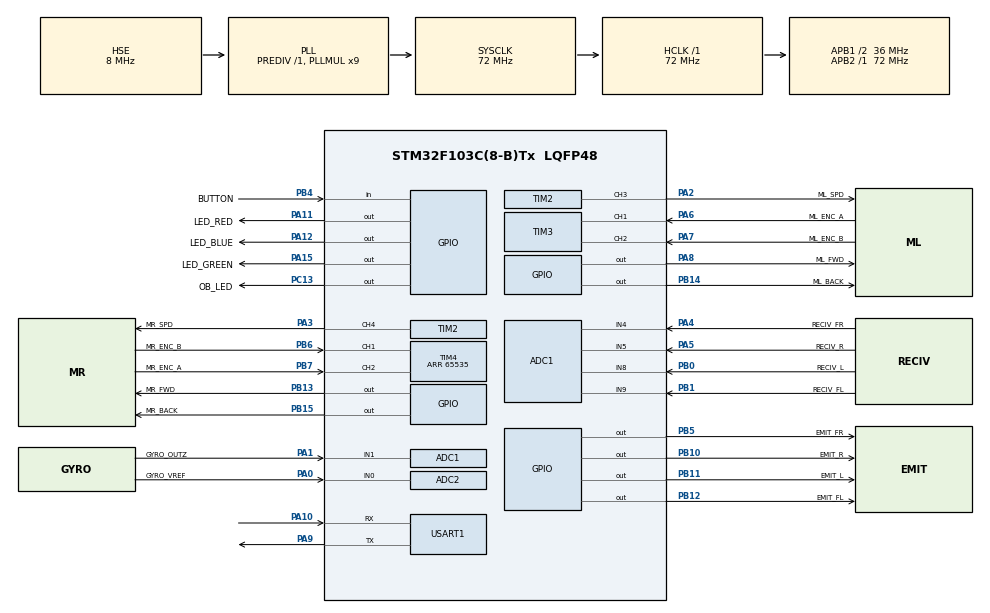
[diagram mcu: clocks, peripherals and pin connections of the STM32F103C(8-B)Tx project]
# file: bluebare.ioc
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ADC1.Channel-2\#ChannelRegularConversion=ADC_CHANNEL_9
ADC1.NbrOfConversionFlag=1
ADC1.Rank-2\#ChannelRegularConversion=1
ADC1.SamplingTime-2\#ChannelRegularConversion=ADC_SAMPLETIME_1CYCLE_5
ADC1.master=1
ADC2.Channel-0\#ChannelRegularConversion=ADC_CHANNEL_0
ADC2.NbrOfConversionFlag=1
ADC2.Rank-0\#ChannelRegularConversion=1
ADC2.SamplingTime-0\#ChannelRegularConversion=ADC_SAMPLETIME_1CYCLE_5
FREERTOS.Tasks01=defaultTask,24,128,StartDefaultTask,Default,NULL,Dynamic,NULL,NULL;taskBlink,8,128,taskBlinkFunc,Default,NULL,Dynamic,NULL,NULL
FREERTOS.configUSE_NEWLIB_REENTRANT=1
Mcu.Family=STM32F1
Mcu.Name=STM32F103C(8-B)Tx
Mcu.Package=LQFP48
NVIC.PriorityGroup=NVIC_PRIORITYGROUP_4
NVIC.TIM1_UP_IRQn=true\:15\:0\:false\:false\:true\:false\:false\:true\:true
NVIC.TimeBase=TIM1_UP_IRQn
NVIC.TimeBaseIP=TIM1
NVIC.USART1_IRQn=true\:5\:0\:false\:false\:true\:true\:true\:true\:true
PA0-WKUP.GPIO_Label=GYRO_VREF
PA0-WKUP.Signal=ADCx_IN0
PA1.GPIO_Label=GYRO_OUTZ
PA1.Signal=ADCx_IN1
PA10.Mode=Asynchronous
PA10.Signal=USART1_RX
PA11.GPIO_Label=LED_RED
PA11.Signal=GPIO_Output
PA12.GPIO_Label=LED_BLUE
PA12.Signal=GPIO_Output
PA13.Mode=Trace_Asynchronous_SW
PA13.Signal=SYS_JTMS-SWDIO
PA14.Mode=Trace_Asynchronous_SW
PA14.Signal=SYS_JTCK-SWCLK
PA15.GPIO_Label=LED_GREEN
PA15.Signal=GPIO_Output
PA2.GPIO_Label=ML_SPD
PA2.Signal=S_TIM2_CH3
PA3.GPIO_Label=MR_SPD
PA3.Signal=S_TIM2_CH4
PA4.GPIO_Label=RECIV_FR
PA4.Signal=ADCx_IN4
PA5.GPIO_Label=RECIV_R
PA5.Signal=ADCx_IN5
PA6.GPIO_Label=ML_ENC_A
PA6.Signal=S_TIM3_CH1
PA7.GPIO_Label=ML_ENC_B
PA7.Signal=S_TIM3_CH2
PA8.GPIO_Label=ML_FWD
PA8.Signal=GPIO_Output
PA9.Mode=Asynchronous
PA9.Signal=USART1_TX
PB0.GPIO_Label=RECIV_L
PB0.Signal=ADCx_IN8
PB1.GPIO_Label=RECIV_FL
PB1.Signal=ADCx_IN9
PB10.GPIO_Label=EMIT_R
PB10.Signal=GPIO_Output
PB11.GPIO_Label=EMIT_L
PB11.Signal=GPIO_Output
PB12.GPIO_Label=EMIT_FL
PB12.Signal=GPIO_Output
PB13.GPIO_Label=MR_FWD
PB13.Signal=GPIO_Output
PB14.GPIO_Label=ML_BACK
PB14.Signal=GPIO_Output
PB15.GPIO_Label=MR_BACK
PB15.Signal=GPIO_Output
PB3.Mode=Trace_Asynchronous_SW
PB3.Signal=SYS_JTDO-TRACESWO
PB4.GPIO_Label=BUTTON
PB4.Signal=GPIO_Input
PB5.GPIO_Label=EMIT_FR
PB5.Signal=GPIO_Output
PB6.GPIO_Label=MR_ENC_B
PB6.Signal=S_TIM4_CH1
PB7.GPIO_Label=MR_ENC_A
PB7.Signal=S_TIM4_CH2
PC13-TAMPER-RTC.GPIO_Label=OB_LED
PC13-TAMPER-RTC.Signal=GPIO_Output
PD0-OSC_IN.Mode=HSE-External-Oscillator
PD0-OSC_IN.Signal=RCC_OSC_IN
PD1-OSC_OUT.Mode=HSE-External-Oscillator
PD1-OSC_OUT.Signal=RCC_OSC_OUT
ProjectManager.HeapSize=0x200
ProjectManager.StackSize=0x400
ProjectManager.TargetToolchain=STM32CubeIDE
RCC.ADCPresc=RCC_ADCPCLK2_DIV6
RCC.AHBFreq_Value=72000000
RCC.APB1CLKDivider=RCC_HCLK_DIV2
RCC.APB1Freq_Value=36000000
RCC.APB1TimFreq_Value=72000000
RCC.APB2Freq_Value=72000000
RCC.APB2TimFreq_Value=72000000
RCC.HCLKFreq_Value=72000000
RCC.PLLMUL=RCC_PLL_MUL9
RCC.PLLSourceVirtual=RCC_PLLSOURCE_HSE
RCC.SYSCLKFreq_VALUE=72000000
RCC.SYSCLKSource=RCC_SYSCLKSOURCE_PLLCLK
RCC.USBFreq_Value=72000000
SH.ADCx_IN0.0=ADC2_IN0,IN0
SH.ADCx_IN1.0=ADC1_IN1,IN1
SH.ADCx_IN1.1=ADC2_IN1,IN1
SH.ADCx_IN4.0=ADC1_IN4,IN4
SH.ADCx_IN5.0=ADC1_IN5,IN5
SH.ADCx_IN8.0=ADC1_IN8,IN8
SH.ADCx_IN9.0=ADC1_IN9,IN9
SH.S_TIM2_CH3.0=TIM2_CH3,PWM Generation3 CH3
SH.S_TIM2_CH4.0=TIM2_CH4,PWM Generation4 CH4
SH.S_TIM3_CH1.0=TIM3_CH1,Encoder_Interface
SH.S_TIM3_CH2.0=TIM3_CH2,Encoder_Interface
SH.S_TIM4_CH1.0=TIM4_CH1,Encoder_Interface
SH.S_TIM4_CH2.0=TIM4_CH2,Encoder_Interface
TIM2.AutoReloadPreload=TIM_AUTORELOAD_PRELOAD_ENABLE
TIM2.Channel-PWM\ Generation1\ CH1=TIM_CHANNEL_1
TIM2.Channel-PWM\ Generation3\ CH3=TIM_CHANNEL_3
TIM2.Channel-PWM\ Generation4\ CH4=TIM_CHANNEL_4
TIM2.Period=1800
TIM3.CounterMode=TIM_COUNTERMODE_UP
TIM3.EncoderMode=TIM_ENCODERMODE_TI12
TIM4.AutoReloadPreload=TIM_AUTORELOAD_PRELOAD_DISABLE
TIM4.CounterMode=TIM_COUNTERMODE_UP
TIM4.EncoderMode=TIM_ENCODERMODE_TI12
TIM4.Period=65535
USART1.VirtualMode=VM_ASYNC
VP_FREERTOS_VS_CMSIS_V2.Mode=CMSIS_V2
VP_SYS_VS_tim1.Mode=TIM1
VP_TIM2_VS_ClockSourceINT.Mode=Internal
board=custom

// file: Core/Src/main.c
/* USER CODE BEGIN Header */
/**
  ******************************************************************************
  * @file           : main.c
  * @brief          : Main program body
  ******************************************************************************
  * @attention
  *
  * Copyright (c) 2022 STMicroelectronics.
  * All rights reserved.
  *
  * This software is licensed under terms that can be found in the LICENSE file
  * in the root directory of this software component.
  * If no LICENSE file comes with this software, it is provided AS-IS.
  *
  ******************************************************************************
  */
/* USER CODE END Header */
#include "main.h"
#include "cmsis_os.h"

/* USER CODE BEGIN Includes */
#include <string.h>
#include "cli.h"
#include "blue_hal.h"
#include "nav.h"
/* USER CODE END Includes */

/* USER CODE BEGIN PD */
#define START_SIGNAL_DIST_FR 3000 /* TODO: Find value*/
#define START_SIGNAL_DIST_R 1500/* TODO: Find value*/
#define START_SIGNAL_DIST_RANGE 500 /* TODO: Find value*/
#define DC_FOR_100_DC 1800
/* USER CODE END PD */

ADC_HandleTypeDef hadc1;
ADC_HandleTypeDef hadc2;

TIM_HandleTypeDef htim2;
TIM_HandleTypeDef htim3;
TIM_HandleTypeDef htim4;

UART_HandleTypeDef huart1;

/* Definitions for defaultTask */
osThreadId_t defaultTaskHandle;
const osThreadAttr_t defaultTask_attributes = {
  .name = "defaultTask",
  .stack_size = 128 * 4,
  .priority = (osPriority_t) osPriorityNormal,
};
/* Definitions for taskBlink */
osThreadId_t taskBlinkHandle;
const osThreadAttr_t taskBlink_attributes = {
  .name = "taskBlink",
  .stack_size = 128 * 4,
  .priority = (osPriority_t) osPriorityLow,
};

void SystemClock_Config(void);
static void MX_GPIO_Init(void);
static void MX_ADC1_Init(void);
static void MX_TIM3_Init(void);
static void MX_TIM4_Init(void);
static void MX_TIM2_Init(void);
static void MX_USART1_UART_Init(void);
static void MX_ADC2_Init(void);
void StartDefaultTask(void *argument);
void taskBlinkFunc(void *argument);

/* USER CODE BEGIN PFP */
static void wait_for_start_signal();
/* USER CODE END PFP */

/* USER CODE BEGIN 0 */
static void wait_for_start_signal(){
  while(1){
    uint16_t fr = bh_measure_dist_avg(DIST_FR);
    uint16_t r = bh_measure_dist_avg(DIST_R);
    if(fr < START_SIGNAL_DIST_FR + START_SIGNAL_DIST_RANGE && fr > START_SIGNAL_DIST_FR - START_SIGNAL_DIST_RANGE
      && r < START_SIGNAL_DIST_R + START_SIGNAL_DIST_RANGE && r > START_SIGNAL_DIST_R - START_SIGNAL_DIST_RANGE) {
      break;
    }
    osDelay(100);
  }

}
/* USER CODE END 0 */

int main(void)
{

  /* MCU Configuration--------------------------------------------------------*/

  /* Reset of all peripherals, Initializes the Flash interface and the Systick. */
  HAL_Init();

  /* Configure the system clock */
  SystemClock_Config();

  /* Initialize all configured peripherals */
  MX_GPIO_Init();
  MX_ADC1_Init();
  MX_TIM3_Init();
  MX_TIM4_Init();
  MX_TIM2_Init();
  MX_USART1_UART_Init();
  MX_ADC2_Init();

  /* Init scheduler */
  osKernelInitialize();

  /* Create the thread(s) */
  /* creation of defaultTask */
  defaultTaskHandle = osThreadNew(StartDefaultTask, NULL, &defaultTask_attributes);

  /* creation of taskBlink */
  taskBlinkHandle = osThreadNew(taskBlinkFunc, NULL, &taskBlink_attributes);

  /* Start scheduler */
  osKernelStart();

  /* We should never get here as control is now taken by the scheduler */
  /* Infinite loop */
  while (1)
  {

  }
}

void SystemClock_Config(void)
{
  RCC_OscInitTypeDef RCC_OscInitStruct = {0};
  RCC_ClkInitTypeDef RCC_ClkInitStruct = {0};
  RCC_PeriphCLKInitTypeDef PeriphClkInit = {0};

  /** Initializes the RCC Oscillators according to the specified parameters
  * in the RCC_OscInitTypeDef structure.
  */
  RCC_OscInitStruct.OscillatorType = RCC_OSCILLATORTYPE_HSE;
  RCC_OscInitStruct.HSEState = RCC_HSE_ON;
  RCC_OscInitStruct.HSEPredivValue = RCC_HSE_PREDIV_DIV1;
  RCC_OscInitStruct.HSIState = RCC_HSI_ON;
  RCC_OscInitStruct.PLL.PLLState = RCC_PLL_ON;
  RCC_OscInitStruct.PLL.PLLSource = RCC_PLLSOURCE_HSE;
  RCC_OscInitStruct.PLL.PLLMUL = RCC_PLL_MUL9;
  if (HAL_RCC_OscConfig(&RCC_OscInitStruct) != HAL_OK)
  {
    Error_Handler();
  }

  /** Initializes the CPU, AHB and APB buses clocks
  */
  RCC_ClkInitStruct.ClockType = RCC_CLOCKTYPE_HCLK|RCC_CLOCKTYPE_SYSCLK
                              |RCC_CLOCKTYPE_PCLK1|RCC_CLOCKTYPE_PCLK2;
  RCC_ClkInitStruct.SYSCLKSource = RCC_SYSCLKSOURCE_PLLCLK;
  RCC_ClkInitStruct.AHBCLKDivider = RCC_SYSCLK_DIV1;
  RCC_ClkInitStruct.APB1CLKDivider = RCC_HCLK_DIV2;
  RCC_ClkInitStruct.APB2CLKDivider = RCC_HCLK_DIV1;

  if (HAL_RCC_ClockConfig(&RCC_ClkInitStruct, FLASH_LATENCY_2) != HAL_OK)
  {
    Error_Handler();
  }
  PeriphClkInit.PeriphClockSelection = RCC_PERIPHCLK_ADC;
  PeriphClkInit.AdcClockSelection = RCC_ADCPCLK2_DIV6;
  if (HAL_RCCEx_PeriphCLKConfig(&PeriphClkInit) != HAL_OK)
  {
    Error_Handler();
  }
}

static void MX_ADC1_Init(void)
{

  ADC_ChannelConfTypeDef sConfig = {0};

  /** Common config
  */
  hadc1.Instance = ADC1;
  hadc1.Init.ScanConvMode = ADC_SCAN_DISABLE;
  hadc1.Init.ContinuousConvMode = DISABLE;
  hadc1.Init.DiscontinuousConvMode = DISABLE;
  hadc1.Init.ExternalTrigConv = ADC_SOFTWARE_START;
  hadc1.Init.DataAlign = ADC_DATAALIGN_RIGHT;
  hadc1.Init.NbrOfConversion = 1;
  if (HAL_ADC_Init(&hadc1) != HAL_OK)
  {
    Error_Handler();
  }

  /** Configure Regular Channel
  */
  sConfig.Channel = ADC_CHANNEL_9;
  sConfig.Rank = ADC_REGULAR_RANK_1;
  sConfig.SamplingTime = ADC_SAMPLETIME_1CYCLE_5;
  if (HAL_ADC_ConfigChannel(&hadc1, &sConfig) != HAL_OK)
  {
    Error_Handler();
  }

}

static void MX_ADC2_Init(void)
{

  ADC_ChannelConfTypeDef sConfig = {0};

  /** Common config
  */
  hadc2.Instance = ADC2;
  hadc2.Init.ScanConvMode = ADC_SCAN_DISABLE;
  hadc2.Init.ContinuousConvMode = DISABLE;
  hadc2.Init.DiscontinuousConvMode = DISABLE;
  hadc2.Init.ExternalTrigConv = ADC_SOFTWARE_START;
  hadc2.Init.DataAlign = ADC_DATAALIGN_RIGHT;
  hadc2.Init.NbrOfConversion = 1;
  if (HAL_ADC_Init(&hadc2) != HAL_OK)
  {
    Error_Handler();
  }

  /** Configure Regular Channel
  */
  sConfig.Channel = ADC_CHANNEL_0;
  sConfig.Rank = ADC_REGULAR_RANK_1;
  sConfig.SamplingTime = ADC_SAMPLETIME_1CYCLE_5;
  if (HAL_ADC_ConfigChannel(&hadc2, &sConfig) != HAL_OK)
  {
    Error_Handler();
  }

}

static void MX_TIM2_Init(void)
{

  TIM_ClockConfigTypeDef sClockSourceConfig = {0};
  TIM_MasterConfigTypeDef sMasterConfig = {0};
  TIM_OC_InitTypeDef sConfigOC = {0};

  htim2.Instance = TIM2;
  htim2.Init.Prescaler = 0;
  htim2.Init.CounterMode = TIM_COUNTERMODE_UP;
  htim2.Init.Period = 1800;
  htim2.Init.ClockDivision = TIM_CLOCKDIVISION_DIV1;
  htim2.Init.AutoReloadPreload = TIM_AUTORELOAD_PRELOAD_ENABLE;
  if (HAL_TIM_Base_Init(&htim2) != HAL_OK)
  {
    Error_Handler();
  }
  sClockSourceConfig.ClockSource = TIM_CLOCKSOURCE_INTERNAL;
  if (HAL_TIM_ConfigClockSource(&htim2, &sClockSourceConfig) != HAL_OK)
  {
    Error_Handler();
  }
  if (HAL_TIM_PWM_Init(&htim2) != HAL_OK)
  {
    Error_Handler();
  }
  sMasterConfig.MasterOutputTrigger = TIM_TRGO_RESET;
  sMasterConfig.MasterSlaveMode = TIM_MASTERSLAVEMODE_DISABLE;
  if (HAL_TIMEx_MasterConfigSynchronization(&htim2, &sMasterConfig) != HAL_OK)
  {
    Error_Handler();
  }
  sConfigOC.OCMode = TIM_OCMODE_PWM1;
  sConfigOC.Pulse = 0;
  sConfigOC.OCPolarity = TIM_OCPOLARITY_HIGH;
  sConfigOC.OCFastMode = TIM_OCFAST_DISABLE;
  if (HAL_TIM_PWM_ConfigChannel(&htim2, &sConfigOC, TIM_CHANNEL_3) != HAL_OK)
  {
    Error_Handler();
  }
  if (HAL_TIM_PWM_ConfigChannel(&htim2, &sConfigOC, TIM_CHANNEL_4) != HAL_OK)
  {
    Error_Handler();
  }
  HAL_TIM_MspPostInit(&htim2);

}

static void MX_TIM3_Init(void)
{

  TIM_Encoder_InitTypeDef sConfig = {0};
  TIM_MasterConfigTypeDef sMasterConfig = {0};

  htim3.Instance = TIM3;
  htim3.Init.Prescaler = 0;
  htim3.Init.CounterMode = TIM_COUNTERMODE_UP;
  htim3.Init.Period = 65535;
  htim3.Init.ClockDivision = TIM_CLOCKDIVISION_DIV1;
  htim3.Init.AutoReloadPreload = TIM_AUTORELOAD_PRELOAD_DISABLE;
  sConfig.EncoderMode = TIM_ENCODERMODE_TI12;
  sConfig.IC1Polarity = TIM_ICPOLARITY_RISING;
  sConfig.IC1Selection = TIM_ICSELECTION_DIRECTTI;
  sConfig.IC1Prescaler = TIM_ICPSC_DIV1;
  sConfig.IC1Filter = 0;
  sConfig.IC2Polarity = TIM_ICPOLARITY_RISING;
  sConfig.IC2Selection = TIM_ICSELECTION_DIRECTTI;
  sConfig.IC2Prescaler = TIM_ICPSC_DIV1;
  sConfig.IC2Filter = 0;
  if (HAL_TIM_Encoder_Init(&htim3, &sConfig) != HAL_OK)
  {
    Error_Handler();
  }
  sMasterConfig.MasterOutputTrigger = TIM_TRGO_RESET;
  sMasterConfig.MasterSlaveMode = TIM_MASTERSLAVEMODE_DISABLE;
  if (HAL_TIMEx_MasterConfigSynchronization(&htim3, &sMasterConfig) != HAL_OK)
  {
    Error_Handler();
  }

}

static void MX_TIM4_Init(void)
{

  TIM_Encoder_InitTypeDef sConfig = {0};
  TIM_MasterConfigTypeDef sMasterConfig = {0};

  htim4.Instance = TIM4;
  htim4.Init.Prescaler = 0;
  htim4.Init.CounterMode = TIM_COUNTERMODE_UP;
  htim4.Init.Period = 65535;
  htim4.Init.ClockDivision = TIM_CLOCKDIVISION_DIV1;
  htim4.Init.AutoReloadPreload = TIM_AUTORELOAD_PRELOAD_DISABLE;
  sConfig.EncoderMode = TIM_ENCODERMODE_TI12;
  sConfig.IC1Polarity = TIM_ICPOLARITY_RISING;
  sConfig.IC1Selection = TIM_ICSELECTION_DIRECTTI;
  sConfig.IC1Prescaler = TIM_ICPSC_DIV1;
  sConfig.IC1Filter = 0;
  sConfig.IC2Polarity = TIM_ICPOLARITY_RISING;
  sConfig.IC2Selection = TIM_ICSELECTION_DIRECTTI;
  sConfig.IC2Prescaler = TIM_ICPSC_DIV1;
  sConfig.IC2Filter = 0;
  if (HAL_TIM_Encoder_Init(&htim4, &sConfig) != HAL_OK)
  {
    Error_Handler();
  }
  sMasterConfig.MasterOutputTrigger = TIM_TRGO_RESET;
  sMasterConfig.MasterSlaveMode = TIM_MASTERSLAVEMODE_DISABLE;
  if (HAL_TIMEx_MasterConfigSynchronization(&htim4, &sMasterConfig) != HAL_OK)
  {
    Error_Handler();
  }

}

static void MX_USART1_UART_Init(void)
{

  huart1.Instance = USART1;
  huart1.Init.BaudRate = 115200;
  huart1.Init.WordLength = UART_WORDLENGTH_8B;
  huart1.Init.StopBits = UART_STOPBITS_1;
  huart1.Init.Parity = UART_PARITY_NONE;
  huart1.Init.Mode = UART_MODE_TX_RX;
  huart1.Init.HwFlowCtl = UART_HWCONTROL_NONE;
  huart1.Init.OverSampling = UART_OVERSAMPLING_16;
  if (HAL_UART_Init(&huart1) != HAL_OK)
  {
    Error_Handler();
  }

}

static void MX_GPIO_Init(void)
{
  GPIO_InitTypeDef GPIO_InitStruct = {0};

  /* GPIO Ports Clock Enable */
  __HAL_RCC_GPIOC_CLK_ENABLE();
  __HAL_RCC_GPIOD_CLK_ENABLE();
  __HAL_RCC_GPIOA_CLK_ENABLE();
  __HAL_RCC_GPIOB_CLK_ENABLE();

  /*Configure GPIO pin Output Level */
  HAL_GPIO_WritePin(OB_LED_GPIO_Port, OB_LED_Pin, GPIO_PIN_RESET);

  /*Configure GPIO pin Output Level */
  HAL_GPIO_WritePin(GPIOB, EMIT_R_Pin|EMIT_L_Pin|EMIT_FL_Pin|MR_FWD_Pin
                          |ML_BACK_Pin|MR_BACK_Pin|EMIT_FR_Pin, GPIO_PIN_RESET);

  /*Configure GPIO pin Output Level */
  HAL_GPIO_WritePin(GPIOA, ML_FWD_Pin|LED_RED_Pin|LED_BLUE_Pin|LED_GREEN_Pin, GPIO_PIN_RESET);

  /*Configure GPIO pin : OB_LED_Pin */
  GPIO_InitStruct.Pin = OB_LED_Pin;
  GPIO_InitStruct.Mode = GPIO_MODE_OUTPUT_PP;
  GPIO_InitStruct.Pull = GPIO_NOPULL;
  GPIO_InitStruct.Speed = GPIO_SPEED_FREQ_LOW;
  HAL_GPIO_Init(OB_LED_GPIO_Port, &GPIO_InitStruct);

  /*Configure GPIO pins : EMIT_R_Pin EMIT_L_Pin EMIT_FL_Pin MR_FWD_Pin
                           ML_BACK_Pin MR_BACK_Pin EMIT_FR_Pin */
  GPIO_InitStruct.Pin = EMIT_R_Pin|EMIT_L_Pin|EMIT_FL_Pin|MR_FWD_Pin
                          |ML_BACK_Pin|MR_BACK_Pin|EMIT_FR_Pin;
  GPIO_InitStruct.Mode = GPIO_MODE_OUTPUT_PP;
  GPIO_InitStruct.Pull = GPIO_NOPULL;
  GPIO_InitStruct.Speed = GPIO_SPEED_FREQ_LOW;
  HAL_GPIO_Init(GPIOB, &GPIO_InitStruct);

  /*Configure GPIO pins : ML_FWD_Pin LED_RED_Pin LED_BLUE_Pin LED_GREEN_Pin */
  GPIO_InitStruct.Pin = ML_FWD_Pin|LED_RED_Pin|LED_BLUE_Pin|LED_GREEN_Pin;
  GPIO_InitStruct.Mode = GPIO_MODE_OUTPUT_PP;
  GPIO_InitStruct.Pull = GPIO_NOPULL;
  GPIO_InitStruct.Speed = GPIO_SPEED_FREQ_LOW;
  HAL_GPIO_Init(GPIOA, &GPIO_InitStruct);

  /*Configure GPIO pin : BUTTON_Pin */
  GPIO_InitStruct.Pin = BUTTON_Pin;
  GPIO_InitStruct.Mode = GPIO_MODE_INPUT;
  GPIO_InitStruct.Pull = GPIO_NOPULL;
  HAL_GPIO_Init(BUTTON_GPIO_Port, &GPIO_InitStruct);

}

void StartDefaultTask(void *argument)
{
  /* USER CODE BEGIN 5 */
  cli_init(&huart1);
  bh_init(&hadc1, &htim2, &huart1, &htim3, &htim4, &hadc2);

  bh_set_led(LED_BLUE, 0);
  bh_set_led(LED_GREEN, 0);
  bh_set_led(LED_RED, 0);

  //wait_for_start_signal(); /* Blocking */ //TODO: Figure out dist measurements

  //bh_set_led(LED_RED, 0);

  osDelay(2000);

  //nav_init();

  //straight();
  /* Infinite loop */
	char hello[] = "Hello World!\r\n";
	for(;;) {
  //bh_set_led(LED_GREEN, 0);
  //osDelay(500);
 // bh_set_led(LED_GREEN, 1);
    //bh_uart_tx_str("Hello World");
   //osDelay(1000) ;

    //wait_for_start_signal(); /* Blocking */ //TODO: Figure out dist measurements
    //bh_set_led(LED_RED, 0);
    //osDelay(500);
    //turn_left();
    //straight(4);

    //wait_for_start_signal();
    //straight(6);
    //straight_till_wall();
    //bh_set_led(LED_RED, 1);
    //wait_for_start_signal();
    //osDelay(1000);
    //turn_left(LEFT_TURN_90_CNTS);
    //osDelay(1000);
    //straight(1);
    //osDelay(1000);
    //wait_for_start_signal();

    //turn_left(LEFT_TURN_180_CNTS);
    cli_update();
    osDelay(25);

		// HAL_GPIO_WritePin(GPIOC, GPIO_PIN_13, GPIO_PIN_RESET);
		//HAL_UART_Transmit(&huart2, (uint8_t*)&hello, strlen(hello), 100);
		// osDelay(1000);
		// HAL_GPIO_WritePin(GPIOC, GPIO_PIN_13, GPIO_PIN_SET);
		// osDelay(1000);
	}
  /* USER CODE END 5 */
}

void taskBlinkFunc(void *argument)
{
  for(;;)
  {
    osDelay(1);
  }
}

void HAL_TIM_PeriodElapsedCallback(TIM_HandleTypeDef *htim)
{
  if (htim->Instance == TIM1) {
    HAL_IncTick();
  }
}

void Error_Handler(void)
{
  __disable_irq();
  while (1)
  {
  }
}
